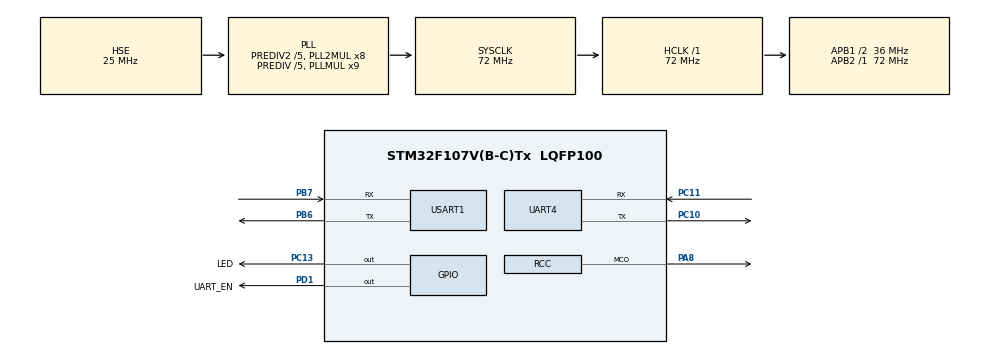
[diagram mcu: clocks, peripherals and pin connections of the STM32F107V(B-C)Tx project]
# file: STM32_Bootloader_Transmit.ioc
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Mcu.Family=STM32F1
Mcu.Name=STM32F107V(B-C)Tx
Mcu.Package=LQFP100
NVIC.PriorityGroup=NVIC_PRIORITYGROUP_4
NVIC.UART4_IRQn=true\:0\:0\:false\:false\:true\:true\:true\:true
NVIC.USART1_IRQn=true\:0\:0\:false\:false\:true\:true\:true\:true
OSC_IN.Mode=HSE-External-Oscillator
OSC_IN.Signal=RCC_OSC_IN
OSC_OUT.Mode=HSE-External-Oscillator
OSC_OUT.Signal=RCC_OSC_OUT
PA13.Mode=Serial_Wire
PA13.Signal=SYS_JTMS-SWDIO
PA14.Mode=Serial_Wire
PA14.Signal=SYS_JTCK-SWCLK
PA8.GPIO_Speed=GPIO_SPEED_FREQ_MEDIUM
PA8.Mode=Clock-out
PA8.Signal=RCC_MCO
PB6.Mode=Asynchronous
PB6.Signal=USART1_TX
PB7.Mode=Asynchronous
PB7.Signal=USART1_RX
PC10.Mode=Asynchronous
PC10.Signal=UART4_TX
PC11.Mode=Asynchronous
PC11.Signal=UART4_RX
PC13-TAMPER-RTC.GPIO_Label=LED
PC13-TAMPER-RTC.Signal=GPIO_Output
PD1.GPIO_Label=UART_EN
PD1.Signal=GPIO_Output
ProjectManager.HeapSize=0x200
ProjectManager.StackSize=0x400
ProjectManager.TargetToolchain=STM32CubeIDE
RCC.AHBFreq_Value=72000000
RCC.APB1CLKDivider=RCC_HCLK_DIV2
RCC.APB1Freq_Value=36000000
RCC.APB1TimFreq_Value=72000000
RCC.APB2Freq_Value=72000000
RCC.APB2TimFreq_Value=72000000
RCC.HCLKFreq_Value=72000000
RCC.HSEDivPLL=RCC_HSE_PREDIV_DIV5
RCC.HSE_VALUE=25000000
RCC.PLL3Mul=RCC_PLLI2S_MUL10
RCC.PLLMUL=RCC_PLL_MUL9
RCC.PLLSourceVirtual=RCC_PLLSOURCE_HSE
RCC.Prediv1Source=RCC_PREDIV1_SOURCE_PLL2
RCC.Prediv2=RCC_HSE_PREDIV2_DIV5
RCC.RCC_MCOSource=RCC_MCO1SOURCE_PLL3CLK
RCC.SYSCLKFreq_VALUE=72000000
RCC.SYSCLKSource=RCC_SYSCLKSOURCE_PLLCLK
RCC.USBFreq_Value=48000000
UART4.VirtualMode=Asynchronous
USART1.VirtualMode=VM_ASYNC
board=custom

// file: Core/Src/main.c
/* USER CODE BEGIN Header */
/**
  ******************************************************************************
  * @file           : main.c
  * @brief          : Main program body
  ******************************************************************************
  * @attention
  *
  * Copyright (c) 2024 STMicroelectronics.
  * All rights reserved.
  *
  * This software is licensed under terms that can be found in the LICENSE file
  * in the root directory of this software component.
  * If no LICENSE file comes with this software, it is provided AS-IS.
  *
  ******************************************************************************
  */
/* USER CODE END Header */
#include "main.h"

/* USER CODE BEGIN Includes */
#include <stdio.h>
#include <string.h>
/* USER CODE END Includes */

/* USER CODE BEGIN PD */
#define FLASH_START_ADDRESS 	0x08020000
#define IMAGE_SIZE 				8192 // 8KB
#define MAX_BLOCK_SIZE 			1024 // Block size for transmission
#define UART4_TIMEOUT 			1000 // UART4 timeout in milliseconds
/* USER CODE END PD */

UART_HandleTypeDef huart4;
UART_HandleTypeDef huart1;

void SystemClock_Config(void);
static void MX_GPIO_Init(void);
static void MX_UART4_Init(void);
static void MX_USART1_UART_Init(void);

/* USER CODE BEGIN 0 */

int __io_putchar (int ch)
{
	HAL_UART_Transmit(&huart1, (const uint8_t*)&ch, 1, 10);
	return ch;
}

// Function to read a block of data from flash memory
void Read_Flash_Block(uint32_t address, uint8_t* buffer, uint32_t length) {
    for (uint32_t i = 0; i < length; i++) {
        buffer[i] = *(uint8_t*)(address + i);
    }
}

// Function to transmit data block over UART4
void Transmit_Data_UART4_Block(uint8_t* data, uint32_t length) {
    HAL_UART_Transmit(&huart4, data, length, UART4_TIMEOUT);
}

// Main function to read from flash and transmit via UART4
void Transmit_Flash_Image(void) {
    uint8_t buffer[MAX_BLOCK_SIZE];
    uint32_t address = FLASH_START_ADDRESS;
    uint32_t remaining = IMAGE_SIZE;

    HAL_GPIO_WritePin(UART_EN_GPIO_Port, UART_EN_Pin, GPIO_PIN_SET);

    while (remaining > 0) {
        uint32_t block_size = (remaining > MAX_BLOCK_SIZE) ? MAX_BLOCK_SIZE : remaining;
        Read_Flash_Block(address, buffer, block_size);
        Transmit_Data_UART4_Block(buffer, block_size);
        printf("Transmitted block starting at address: 0x%08lX, block size: %lu, remaining: %lu\n", address, block_size, remaining);
        address += block_size;
        remaining -= block_size;
        HAL_GPIO_TogglePin(GPIOC, LED_Pin);
		HAL_Delay(2000);
    }
}

/* USER CODE END 0 */

int main(void)
{

  /* MCU Configuration--------------------------------------------------------*/

  /* Reset of all peripherals, Initializes the Flash interface and the Systick. */
  HAL_Init();

  /* Configure the system clock */
  SystemClock_Config();

  /* Initialize all configured peripherals */
  MX_GPIO_Init();
  MX_UART4_Init();
  MX_USART1_UART_Init();
  /* USER CODE BEGIN 2 */

  Transmit_Flash_Image();

  /* USER CODE END 2 */

  /* Infinite loop */
  while (1)
  {

  }
}

void SystemClock_Config(void)
{
  RCC_OscInitTypeDef RCC_OscInitStruct = {0};
  RCC_ClkInitTypeDef RCC_ClkInitStruct = {0};

  /** Initializes the RCC Oscillators according to the specified parameters
  * in the RCC_OscInitTypeDef structure.
  */
  RCC_OscInitStruct.OscillatorType = RCC_OSCILLATORTYPE_HSE;
  RCC_OscInitStruct.HSEState = RCC_HSE_ON;
  RCC_OscInitStruct.HSEPredivValue = RCC_HSE_PREDIV_DIV5;
  RCC_OscInitStruct.HSIState = RCC_HSI_ON;
  RCC_OscInitStruct.Prediv1Source = RCC_PREDIV1_SOURCE_PLL2;
  RCC_OscInitStruct.PLL.PLLState = RCC_PLL_ON;
  RCC_OscInitStruct.PLL.PLLSource = RCC_PLLSOURCE_HSE;
  RCC_OscInitStruct.PLL.PLLMUL = RCC_PLL_MUL9;
  RCC_OscInitStruct.PLL2.PLL2State = RCC_PLL2_ON;
  RCC_OscInitStruct.PLL2.PLL2MUL = RCC_PLL2_MUL8;
  RCC_OscInitStruct.PLL2.HSEPrediv2Value = RCC_HSE_PREDIV2_DIV5;
  if (HAL_RCC_OscConfig(&RCC_OscInitStruct) != HAL_OK)
  {
    Error_Handler();
  }

  /** Initializes the CPU, AHB and APB buses clocks
  */
  RCC_ClkInitStruct.ClockType = RCC_CLOCKTYPE_HCLK|RCC_CLOCKTYPE_SYSCLK
                              |RCC_CLOCKTYPE_PCLK1|RCC_CLOCKTYPE_PCLK2;
  RCC_ClkInitStruct.SYSCLKSource = RCC_SYSCLKSOURCE_PLLCLK;
  RCC_ClkInitStruct.AHBCLKDivider = RCC_SYSCLK_DIV1;
  RCC_ClkInitStruct.APB1CLKDivider = RCC_HCLK_DIV2;
  RCC_ClkInitStruct.APB2CLKDivider = RCC_HCLK_DIV1;

  if (HAL_RCC_ClockConfig(&RCC_ClkInitStruct, FLASH_LATENCY_2) != HAL_OK)
  {
    Error_Handler();
  }
  HAL_RCC_MCOConfig(RCC_MCO, RCC_MCO1SOURCE_PLL3CLK, RCC_MCODIV_1);

  /** Configure the Systick interrupt time
  */
  __HAL_RCC_HSE_PREDIV2_CONFIG(RCC_HSE_PREDIV2_DIV5);

  /** Configure the Systick interrupt time
  */
  __HAL_RCC_PLLI2S_CONFIG(RCC_PLLI2S_MUL10);

  /** Configure the Systick interrupt time
  */
  __HAL_RCC_PLLI2S_ENABLE();
}

static void MX_UART4_Init(void)
{

  huart4.Instance = UART4;
  huart4.Init.BaudRate = 115200;
  huart4.Init.WordLength = UART_WORDLENGTH_8B;
  huart4.Init.StopBits = UART_STOPBITS_1;
  huart4.Init.Parity = UART_PARITY_NONE;
  huart4.Init.Mode = UART_MODE_TX_RX;
  huart4.Init.HwFlowCtl = UART_HWCONTROL_NONE;
  huart4.Init.OverSampling = UART_OVERSAMPLING_16;
  if (HAL_UART_Init(&huart4) != HAL_OK)
  {
    Error_Handler();
  }

}

static void MX_USART1_UART_Init(void)
{

  huart1.Instance = USART1;
  huart1.Init.BaudRate = 115200;
  huart1.Init.WordLength = UART_WORDLENGTH_8B;
  huart1.Init.StopBits = UART_STOPBITS_1;
  huart1.Init.Parity = UART_PARITY_NONE;
  huart1.Init.Mode = UART_MODE_TX_RX;
  huart1.Init.HwFlowCtl = UART_HWCONTROL_NONE;
  huart1.Init.OverSampling = UART_OVERSAMPLING_16;
  if (HAL_UART_Init(&huart1) != HAL_OK)
  {
    Error_Handler();
  }

}

static void MX_GPIO_Init(void)
{
  GPIO_InitTypeDef GPIO_InitStruct = {0};

  /* GPIO Ports Clock Enable */
  __HAL_RCC_GPIOC_CLK_ENABLE();
  __HAL_RCC_GPIOA_CLK_ENABLE();
  __HAL_RCC_GPIOD_CLK_ENABLE();
  __HAL_RCC_GPIOB_CLK_ENABLE();

  /*Configure GPIO pin Output Level */
  HAL_GPIO_WritePin(LED_GPIO_Port, LED_Pin, GPIO_PIN_RESET);

  /*Configure GPIO pin Output Level */
  HAL_GPIO_WritePin(UART_EN_GPIO_Port, UART_EN_Pin, GPIO_PIN_RESET);

  /*Configure GPIO pin : LED_Pin */
  GPIO_InitStruct.Pin = LED_Pin;
  GPIO_InitStruct.Mode = GPIO_MODE_OUTPUT_PP;
  GPIO_InitStruct.Pull = GPIO_NOPULL;
  GPIO_InitStruct.Speed = GPIO_SPEED_FREQ_LOW;
  HAL_GPIO_Init(LED_GPIO_Port, &GPIO_InitStruct);

  /*Configure GPIO pin : PA8 */
  GPIO_InitStruct.Pin = GPIO_PIN_8;
  GPIO_InitStruct.Mode = GPIO_MODE_AF_PP;
  GPIO_InitStruct.Speed = GPIO_SPEED_FREQ_MEDIUM;
  HAL_GPIO_Init(GPIOA, &GPIO_InitStruct);

  /*Configure GPIO pin : UART_EN_Pin */
  GPIO_InitStruct.Pin = UART_EN_Pin;
  GPIO_InitStruct.Mode = GPIO_MODE_OUTPUT_PP;
  GPIO_InitStruct.Pull = GPIO_NOPULL;
  GPIO_InitStruct.Speed = GPIO_SPEED_FREQ_LOW;
  HAL_GPIO_Init(UART_EN_GPIO_Port, &GPIO_InitStruct);

}

void Error_Handler(void)
{
  __disable_irq();
  while (1)
  {
  }
}
